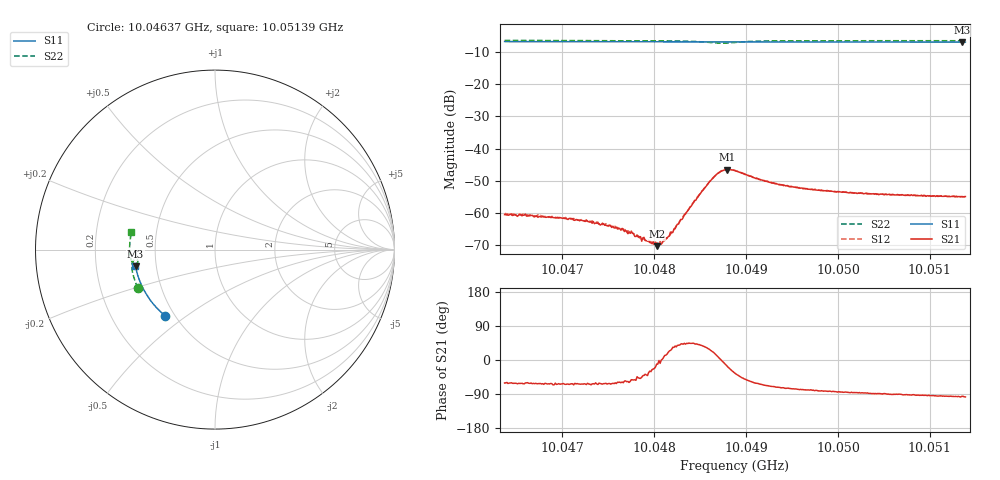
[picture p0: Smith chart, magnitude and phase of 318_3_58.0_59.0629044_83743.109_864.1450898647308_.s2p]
#  HZ  S  RI  R  50.00
! Rohde & Schwarz Vector Network Analyzer
! Rohde-Schwarz,ZNB20-2Port,1311601062101988,3.16
! Created: UTC 3/21/2024, 1:04:35 AM
! freq[Hz]  re:S11  im:S11  re:S21  im:S21  re:S12  im:S12  re:S22  im:S22
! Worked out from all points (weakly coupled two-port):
!   401 points, 10.04637 GHz to 10.05139 GHz, reference 50 ohm
!   highest |S21| = -46.52 dB at 10.04879 GHz (marker M1); lowest = -70.3 dB at 10.04803 GHz (marker M2)
!   lowest |S11| = -6.9 dB at 10.05135 GHz (marker M3), VSWR 2.65, Z = 19 - j4.4 ohm
!   |S11| at or under -10 dB: nowhere
!   |S22| runs from -7.2 to -6.4 dB; largest |S21 - S12| = 0.00033
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1.0046371e10  -0.2788 -0.3675  0.000462 -0.000822  0.000515 -0.000801  -0.4298 -0.2142
1.0046759e10  -0.2982 -0.3508  0.000411 -0.00077  0.000459 -0.000795  -0.44 -0.19
1.0047211e10  -0.3196 -0.3299  0.000346 -0.000688  0.00038 -0.000694  -0.4505 -0.1612
1.0047311e10  -0.3242 -0.3252  0.000303 -0.000664  0.000356 -0.000637  -0.4524 -0.1547
1.0047637e10  -0.3386 -0.3092  0.000271 -0.000468  0.000327 -0.000479  -0.4586 -0.1323
1.0047775e10  -0.3445 -0.3021  0.000289 -0.000378  0.000309 -0.000367  -0.4605 -0.1228
1.0047913e10  -0.3502 -0.2951  0.000288 -0.000235  0.000306 -0.000197  -0.4621 -0.1124
1.0048026e10  -0.3547 -0.2891  0.0003 -5.73e-05  0.000334 -4.5e-05  -0.463 -0.1037
1.0048051e10  -0.3557 -0.2878  0.000321 -7.65e-06  0.000316 -7.79e-06  -0.4633 -0.1018
1.0048114e10  -0.3584 -0.2847  0.000365 7.82e-05  0.000366 9.9e-05  -0.4636 -0.0965
1.0048164e10  -0.3602 -0.2819  0.000407 0.000179  0.000382 0.000214  -0.4637 -0.0926
1.0048214e10  -0.3623 -0.2793  0.00047 0.000308  0.00045 0.000323  -0.4636 -0.0882
1.004849e10  -0.3726 -0.2643  0.00146 0.00125  0.00138 0.00134  -0.4554 -0.0629
1.0048628e10  -0.3773 -0.2567  0.00307 0.0013  0.00302 0.00154  -0.4404 -0.0557
1.0048703e10  -0.38 -0.2525  0.00421 0.000479  0.0042 0.00071  -0.4317 -0.0604
1.0048791e10  -0.3828 -0.2478  0.00455 -0.00127  0.00469 -0.00106  -0.4314 -0.0723
1.0048879e10  -0.3859 -0.2429  0.00374 -0.00262  0.0039 -0.0024  -0.4416 -0.0781
1.004928e10  -0.3987 -0.2199  0.001 -0.00273  0.00119 -0.00272  -0.4698 -0.0495
1.0049719e10  -0.4113 -0.1938  0.000403 -0.00228  0.00056 -0.00228  -0.4752 -0.0153
1.0050559e10  -0.4307 -0.1421  -2.18e-05 -0.00193  0.000137 -0.00195  -0.4739 0.0431
1.0051349e10  -0.4429 -0.092  -0.00018 -0.00179  -0.000125 -0.00178  -0.4656 0.0952
1.0051387e10  -0.4436 -0.0896  -0.000234 -0.00179  -0.000118 -0.00179  -0.4654 0.0978
